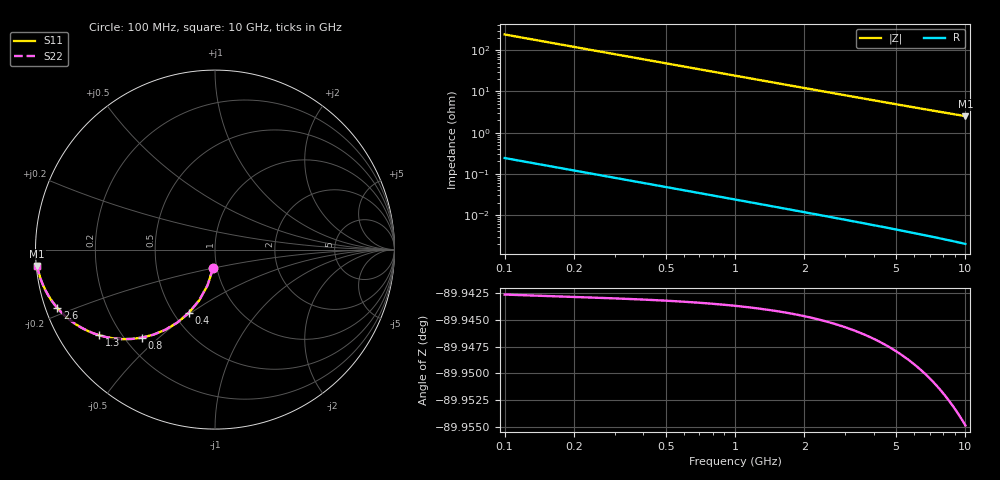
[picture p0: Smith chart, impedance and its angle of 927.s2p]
# Hz S RI R 50.00
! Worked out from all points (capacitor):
!   100 points, 100 MHz to 10 GHz, reference 50 ohm
!   read as one part in shunt: C = 6.59 pF near 100 MHz
!   lowest |Z| = 2.52 ohm at 10 GHz (marker M1)
!   S11 on the Smith chart (normalised r, x): 100 MHz: 0.96, -0.20; 400 MHz: 0.59, -0.49; 800 MHz: 0.27, -0.44; 1.3 GHz: 0.12, -0.33; 2.6 GHz: 0.03, -0.18; 10 GHz: 0.00, -0.05
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1e8  -0.0107 -0.1023  0.9893 -0.1024  0.9893 -0.1024  -0.0107 -0.1023
2e8  -0.0412 -0.1982  0.9588 -0.1984  0.9588 -0.1984  -0.0412 -0.1982
3e8  -0.0881 -0.2828  0.9119 -0.283  0.9119 -0.283  -0.0881 -0.2828
4e8  -0.1464 -0.3528  0.8536 -0.3532  0.8536 -0.3532  -0.1464 -0.3528
5e8  -0.2112 -0.4075  0.7887 -0.4079  0.7887 -0.4079  -0.2112 -0.4075
6e8  -0.2782 -0.4474  0.7217 -0.4479  0.7217 -0.4479  -0.2782 -0.4474
7e8  -0.344 -0.4742  0.6559 -0.4749  0.6559 -0.4749  -0.344 -0.4742
8e8  -0.4064 -0.4903  0.5935 -0.491  0.5935 -0.491  -0.4064 -0.4903
1e9  -0.5167 -0.4988  0.4832 -0.4997  0.4832 -0.4997  -0.5167 -0.4988
1.1e9  -0.564 -0.4949  0.436 -0.4959  0.436 -0.4959  -0.564 -0.4949
1.3e9  -0.6436 -0.4779  0.3564 -0.479  0.3564 -0.479  -0.6436 -0.4779
1.5e9  -0.7061 -0.4543  0.2938 -0.4557  0.2938 -0.4557  -0.7061 -0.4543
1.8e9  -0.7757 -0.4158  0.2243 -0.4174  0.2243 -0.4174  -0.7757 -0.4158
2.2e9  -0.8377 -0.3672  0.1623 -0.3692  0.1623 -0.3692  -0.8377 -0.3672
2.6e9  -0.8781 -0.3255  0.1219 -0.3278  0.1219 -0.3278  -0.8781 -0.3255
3e9  -0.9055 -0.2906  0.0944 -0.2933  0.0944 -0.2933  -0.9055 -0.2906
3.4e9  -0.9248 -0.2616  0.0751 -0.2646  0.0751 -0.2646  -0.9248 -0.2616
4.2e9  -0.9494 -0.2168  0.0506 -0.2205  0.0506 -0.2205  -0.9494 -0.2168
5.1e9  -0.9651 -0.1807  0.0349 -0.1853  0.0349 -0.1853  -0.9651 -0.1807
6.7e9  -0.9795 -0.1381  0.0205 -0.1442  0.0205 -0.1442  -0.9795 -0.1381
8.4e9  -0.9869 -0.1093  0.0131 -0.117  0.0131 -0.117  -0.9869 -0.1093
1e10  -0.9907 -0.0905  0.00919 -0.0997  0.00919 -0.0997  -0.9907 -0.0905
